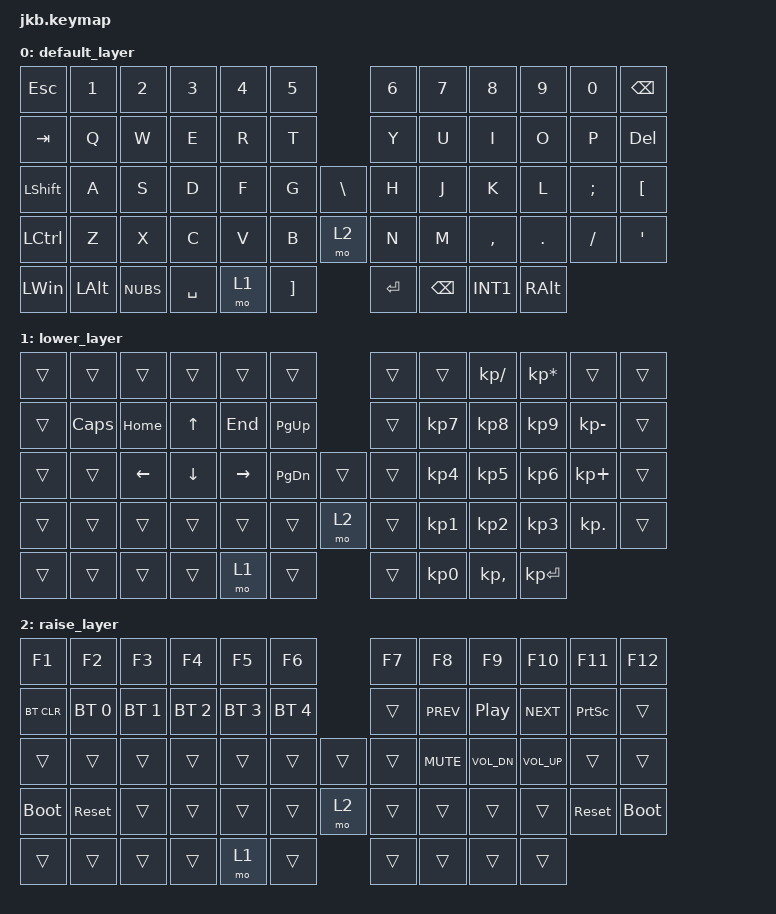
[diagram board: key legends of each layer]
/*
 * Copyright (c) 2020 The ZMK Contributors
 *
 * SPDX-License-Identifier: MIT
 */

#include <behaviors.dtsi>
#include <dt-bindings/zmk/keys.h>
#include <dt-bindings/zmk/bt.h>

/ {
    keymap {
        compatible = "zmk,keymap";

        /* LAYER 0: BASE (ABNT2 Otimizado) */
        default_layer {
            bindings = <
                &kp ESC     &kp N1    &kp N2    &kp N3    &kp N4    &kp N5                   &kp N6     &kp N7     &kp N8     &kp N9     &kp N0     &kp BSPC
                &kp TAB     &kp Q     &kp W     &kp E     &kp R     &kp T                    &kp Y      &kp U      &kp I      &kp O      &kp P      &kp DEL
                &kp LSHIFT  &kp A     &kp S     &kp D     &kp F     &kp G          &kp BSLH  &kp H      &kp J      &kp K      &kp L      &kp SEMI   &kp LBKT 
                &kp LCTRL   &kp Z     &kp X     &kp C     &kp V     &kp B          &mo 2     &kp N      &kp M      &kp COMMA  &kp DOT    &kp FSLH   &kp SQT 
                &kp LWIN    &kp LALT  &kp NUBS  &kp SPACE &mo 1     &kp RBKT                 &kp ENTER  &kp BSPC   &kp INT1   &kp RALT          

            >; 
        };

        /* LAYER 1: NAVEGACAO ESDF E NUMPAD (Polegar Esquerdo) */
        lower_layer {
            bindings = <
                &trans     &trans    &trans    &trans    &trans    &trans                    &trans    &trans        &kp KP_DIVIDE   &kp KP_MULTIPLY    &trans          &trans
                &trans     &kp CAPS  &kp HOME  &kp UP    &kp END   &kp PG_UP                 &trans    &kp KP_N7     &kp KP_N8       &kp KP_N9          &kp KP_MINUS    &trans
                &trans     &trans    &kp LEFT  &kp DOWN  &kp RIGHT &kp PG_DN       &trans    &trans    &kp KP_N4     &kp KP_N5       &kp KP_N6          &kp KP_PLUS     &trans 
                &trans     &trans    &trans    &trans    &trans    &trans          &mo 2     &trans    &kp KP_N1     &kp KP_N2       &kp KP_N3          &kp KP_DOT      &trans 
                &trans     &trans    &trans    &trans    &mo 1     &trans                    &trans    &kp KP_N0     &kp KP_COMMA    &kp KP_ENTER    
            >;
        };

        /* LAYER 2: BLUETOOTH, MIDIA E FUNCOES (Tecla Interna Direita) */
        raise_layer {
            bindings = <
                &kp F1       &kp F2        &kp F3        &kp F4        &kp F5        &kp F6                         &kp F7      &kp F8        &kp F9        &kp F10       &kp F11      &kp F12
                &bt BT_CLR   &bt BT_SEL 0  &bt BT_SEL 1  &bt BT_SEL 2  &bt BT_SEL 3  &bt BT_SEL 4                   &trans      &kp C_PREV    &kp C_PP      &kp C_NEXT    &kp PSCRN    &trans
                &trans       &trans        &trans        &trans        &trans        &trans               &trans    &trans      &kp C_MUTE    &kp C_VOL_DN  &kp C_VOL_UP  &trans       &trans 
                &bootloader  &sys_reset    &trans        &trans        &trans        &trans               &mo 2     &trans      &trans        &trans        &trans        &sys_reset   &bootloader 
                &trans       &trans        &trans        &trans        &mo 1         &trans                         &trans      &trans        &trans        &trans    
            >;
        };
    };
};
//For new Layers
/*  &trans     &trans    &trans    &trans    &trans    &trans                    &trans    &trans    &trans    &trans    &trans    &trans
    &trans     &trans    &trans    &trans    &trans    &trans                    &trans    &trans    &trans    &trans    &trans    &trans
    &trans     &trans    &trans    &trans    &trans    &trans          &trans    &trans    &trans    &trans    &trans    &trans    &trans 
    &trans     &trans    &trans    &trans    &trans    &trans          &mo 2     &trans    &trans    &trans    &trans    &trans    &trans 
    &trans     &trans    &trans    &trans    &mo 1     &trans                    &trans    &trans    &trans    &trans */
